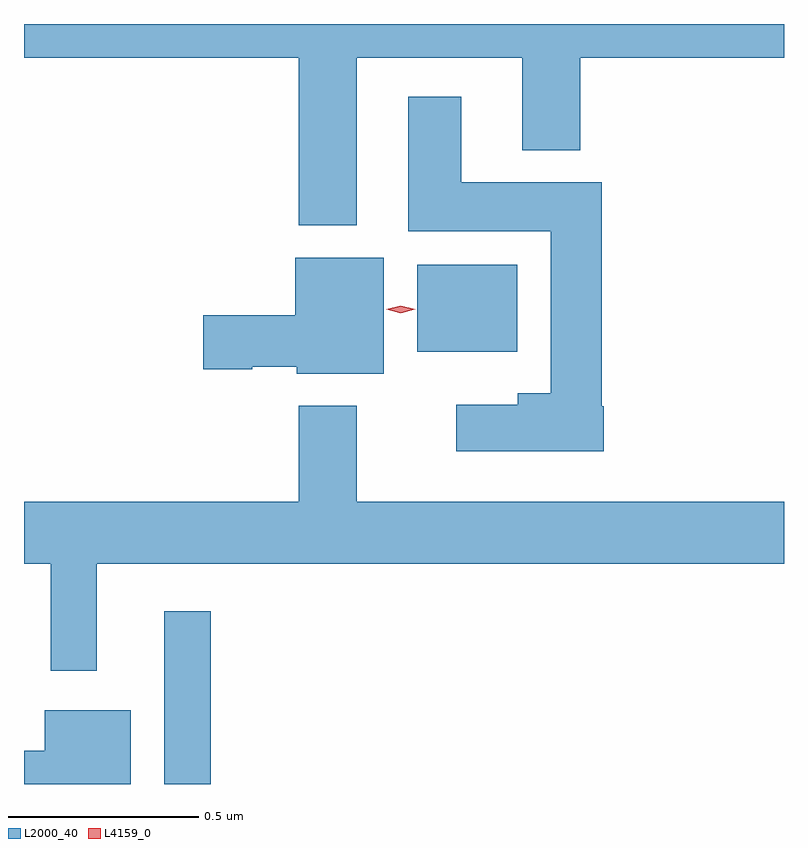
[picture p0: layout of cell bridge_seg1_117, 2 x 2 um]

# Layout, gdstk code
import gdstk
lib = gdstk.Library(unit=1e-6, precision=1e-09)
def R(c, l, rs):  # rectangles x0, y0, x1, y1
    for r in rs: c.add(gdstk.rectangle(r[:2], r[2:], *l))
def P(c, l, *ps):  # polygons
    for p in ps: c.add(gdstk.Polygon(p, *l))
L2000_40 = (2000, 40)
L4159_0 = (4159, 0)

bridge_seg1_117 = lib.new_cell('bridge_seg1_117')
R(bridge_seg1_117, L2000_40, [(312.197,555.149,312.319,555.604), (312.863,556.286,313.126,556.516)])
P(bridge_seg1_117, L2000_40, [(312.703,557.06),(313.139,557.06),(313.139,556.817),(313.292,556.817),(313.292,557.06),(313.828,557.06),(313.828,557.149),(311.828,557.149),(311.828,557.06),(312.551,557.06),(312.551,556.619),(312.703,556.619)],
  [(313.354,556.143),(313.349,556.143),(313.349,556.732),(312.979,556.732),(312.979,556.957),(312.839,556.957),(312.839,556.604),(313.214,556.604),(313.214,556.177),(313.127,556.177),(313.127,556.147),(312.966,556.147),(312.966,556.025),(313.354,556.025)],
  [(312.775,556.534),(312.542,556.534),(312.542,556.382),(312.3,556.382),(312.3,556.24),(312.429,556.24),(312.429,556.247),(312.546,556.247),(312.546,556.229),(312.775,556.229)],
  [(312.019,555.728),(313.828,555.728),(313.828,555.892),(312.703,555.892),(312.703,556.144),(312.551,556.144),(312.551,555.892),(311.828,555.892),(311.828,555.728),(311.898,555.728),(311.898,555.447),(312.019,555.447)],
  [(312.109,555.343),(311.882,555.343),(311.882,555.237),(311.828,555.237),(311.828,555.149),(312.109,555.149)])
P(bridge_seg1_117, L4159_0, [(312.82,556.388),(312.781,556.398),(312.781,556.398),(312.781,556.398),(312.82,556.408),(312.858,556.398),(312.858,556.398),(312.858,556.398)])

lib.write_gds('bridge_seg1_117.gds')
